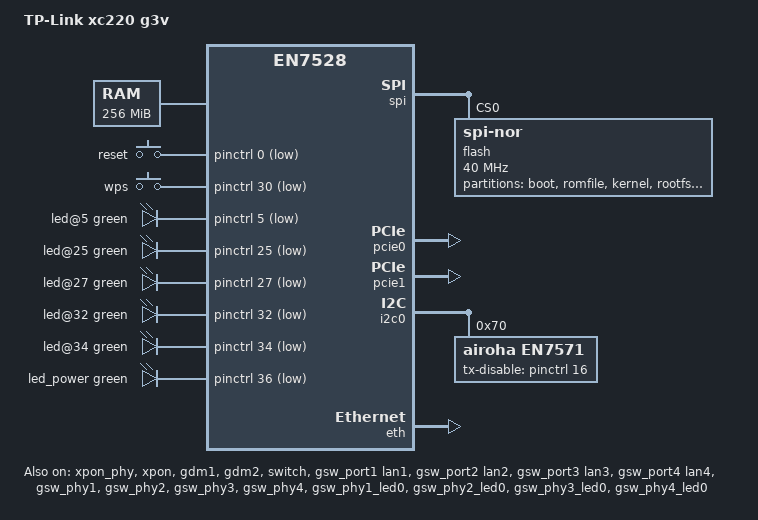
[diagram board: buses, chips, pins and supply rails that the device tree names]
// SPDX-License-Identifier: GPL-2.0

/dts-v1/;

#include "en7528.dtsi"

/ {
model = "TP-Link xc220 g3v";
	compatible = "tplink,xc220-g3v", "econet,en7528";

	memory@0 {
		device_type = "memory";
		reg = <0x00000000 0x10000000>;
	};

	aliases {
		serial0 = &uart1;
		led-boot = &led_power;
		led-failsafe = &led_power;
		led-upgrade = &led_power;
		led-running = &led_power;
	};

	keys {
		compatible = "gpio-keys-polled";
		poll-interval = <100>;

		reset {
			label = "reset";
			linux,code = <KEY_RESTART>;
			gpios = <&pinctrl 0 GPIO_ACTIVE_LOW>;
			debounce-interval = <60>;
		};

		wps {
			label = "wps";
			linux,code = <KEY_WPS_BUTTON>;
			gpios = <&pinctrl 30 GPIO_ACTIVE_LOW>;
			debounce-interval = <60>;
		};
	};

	leds {
		compatible = "gpio-leds";

		/*
		#id   gpio  mode  speed reve  priv
		POWR   36    1     5     1     0
		XPON   34   0     1     1     0
		LOS    32   0     5     1     0
		INET   25   1     1     1     ""
		WLPS   5    1     5     1     0
		LAN4  37    6     1     1     "eth0.4"
		LAN3  35    6     1     1     "eth0.3"
		LAN2  33    6     1     1     "eth0.2"
		LAN1  31    6     1     1     "eth0.1"
		FXS1  27    1     1     1     0
		*/

		// WPS
		led@5 {
			color = <LED_COLOR_ID_GREEN>;
			function = LED_FUNCTION_STATUS;
			function-enumerator = <5>;
			gpios = <&pinctrl 5 GPIO_ACTIVE_LOW>;
		};

		// Internet
		led@25 {
			color = <LED_COLOR_ID_GREEN>;
			function = LED_FUNCTION_STATUS;
			function-enumerator = <25>;
			gpios = <&pinctrl 25 GPIO_ACTIVE_LOW>;
		};

		// FXS1
		led@27 {
			color = <LED_COLOR_ID_GREEN>;
			function = LED_FUNCTION_STATUS;
			function-enumerator = <27>;
			gpios = <&pinctrl 27 GPIO_ACTIVE_LOW>;
		};

		// LOS
		led@32 {
			color = <LED_COLOR_ID_GREEN>;
			function = LED_FUNCTION_STATUS;
			function-enumerator = <32>;
			gpios = <&pinctrl 32 GPIO_ACTIVE_LOW>;
		};

		// xPON
		led@34 {
			color = <LED_COLOR_ID_GREEN>;
			function = LED_FUNCTION_STATUS;
			function-enumerator = <34>;
			gpios = <&pinctrl 34 GPIO_ACTIVE_LOW>;
		};

		// Power
		led_power: led@36 {
			color = <LED_COLOR_ID_GREEN>;
			function = LED_FUNCTION_STATUS;
			function-enumerator = <36>;
			gpios = <&pinctrl 36 GPIO_ACTIVE_LOW>;
		};
	};
};

&spi {
	flash@0 {
		reg = <0>;
		compatible = "jedec,spi-nor";
		spi-max-frequency = <40000000>;
		spi-tx-bus-width = <1>;
		spi-rx-bus-width = <2>;

		partitions {
			compatible = "fixed-partitions";
			#address-cells = <1>;
			#size-cells = <1>;

			partition@0 {
				label = "boot";
				reg = <0x00000000 0x00040000>;
				read-only;
			};

			partition@40000 {
				label = "romfile";
				reg = <0x00040000 0x00010000>;
			};

			partition@50000 {
				label = "kernel";
				reg = <0x00050000 0x00220000>;
			};

			partition@270000 {
				label = "rootfs";
				reg = <0x00270000 0x00cd0000>;
			};

			partition@f40000 {
				label = "misc";
				reg = <0x00f40000 0x000c0000>;

				nvmem-layout {
					compatible = "fixed-layout";
					#address-cells = <1>;
					#size-cells = <1>;

					macaddr: macaddr@4f100 {
						compatible = "mac-base";
						reg = <0xf100 0x6>;
						#nvmem-cell-cells = <1>;
					};

					en7571_bob: en7571_bob@c0000 {
						reg = <0x10000 0xff>;
					};

					gponsn: gponsn@40001 {
						reg = <0x40001 0x10>;
						#nvmem-cell-cells = <1>;
					};

					eeprom@50000 {
						reg = <0x50000 0x2F60>;
					};

					eeprom@70000 {
						reg = <0x70000 0x600>;
					};
				};
			};
		};
	};
};

&pcie0 {
	status = "okay";
};

&pcie1 {
	status = "okay";
};

&i2c0 {
	status = "okay";

	en7571: lddla@70 {
		compatible = "airoha,en7571";
		reg = <0x70>;

		nvmem-cells = <&en7571_bob>;
		nvmem-cell-names = "calibration";
		tx-disable-gpios = <&pinctrl 16 GPIO_ACTIVE_HIGH>;

		#optical-frontend-cells = <0>;
	};
};

&xpon_phy {
	status = "okay";
};

&xpon {
	status = "okay";
	
	nvmem-cells = <&gponsn>;
	nvmem-cell-names = "gpon-serial-number";

	optical-frontends = <&en7571>;
	optical-frontend-names = "pon";
};

&eth {
	status = "okay";
};

&gdm1 {
	status = "okay";
};

&gdm2 {
	status = "okay";

	nvmem-cells = <&macaddr 0>;
	nvmem-cell-names = "mac-address";

	airoha,xpon-managed;
	openwrt,netdev-name = "pon0";
};

&switch {
	status = "okay";
};

&gsw_port1 {
	label = "lan1";
	status = "okay";
};

&gsw_port2 {
	label = "lan2";
	status = "okay";
};

&gsw_port3 {
	label = "lan3";
	status = "okay";
};

&gsw_port4 {
	label = "lan4";
	status = "okay";
};

&gsw_phy1 {
	status = "okay";
};

&gsw_phy2 {
	status = "okay";
};

&gsw_phy3 {
	status = "okay";
};

&gsw_phy4 {
	status = "okay";
};

&gsw_phy1_led0 {
	status = "okay";
	color = <LED_COLOR_ID_GREEN>;
};

&gsw_phy2_led0 {
	status = "okay";
	color = <LED_COLOR_ID_GREEN>;
};

&gsw_phy3_led0 {
	status = "okay";
	color = <LED_COLOR_ID_GREEN>;
};

&gsw_phy4_led0 {
	status = "okay";
	color = <LED_COLOR_ID_GREEN>;
};
